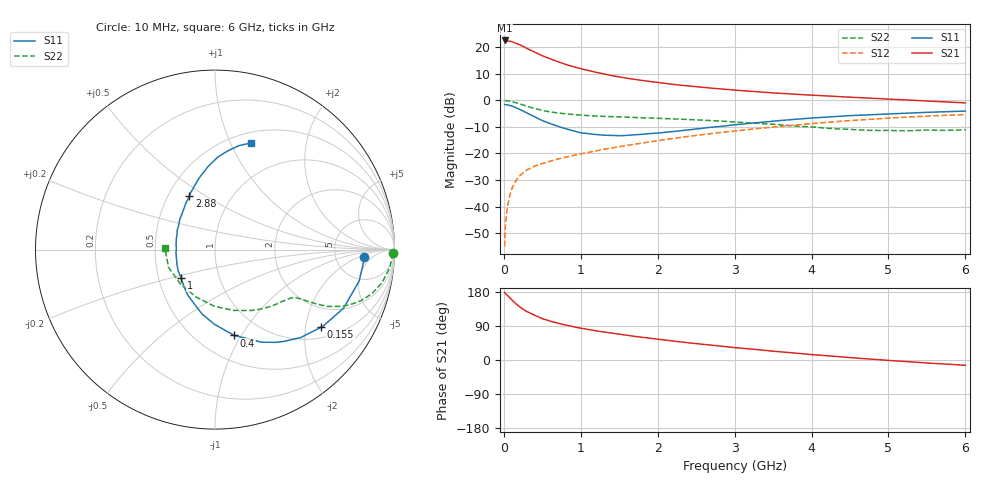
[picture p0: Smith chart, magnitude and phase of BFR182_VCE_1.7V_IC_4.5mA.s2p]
! Infineon Technologies  Discrete & RF Semiconductors
! BFR182
! VCE =  1.7 V,  IC =  4.5 mA
! Common Emitter S-Parameters:  Nov 2015
# GHz  S  MA  R  50
!  f  S11  S21  S12  S22
! GHz  MAG  ANG  MAG  ANG  MAG  ANG  MAG  ANG
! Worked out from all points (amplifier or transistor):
!   210 points, 10 MHz to 6 GHz, reference 50 ohm
!   highest |S21| = 22.5 dB at 10 MHz (marker M1)
!   |S21| within 3 dB of that: start of sweep to 300.1 MHz
!   unconditionally stable (mu >= 1): 1.09 GHz to 2.898 GHz
!   at 185 MHz: K = 0.31, MSG = 25.1 dB, |S12| = -29.1 dB
!   at 1.52 GHz: K = 1.06, MAG = 11.5 dB, |S12| = -17.3 dB
!   at 6 GHz: K = 0.89, MSG = 2.2 dB, |S12| = -5.4 dB
!   S11 on the Smith chart (normalised r, x): 10 MHz: 10, -3; 155 MHz: 1.31, -2.43; 400 MHz: 0.74, -0.93; 1 GHz: 0.65, -0.22; 2.88 GHz: 0.64, +0.43; 6 GHz: 0.61, +1.20
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0.01  0.8329 -2.7  13.39 178.0  0.0018 94.9  0.9904 -1.2
0.02  0.8303 -5.0  13.16 175.5  0.0043 84.0  0.9871 -2.3
0.035  0.8248 -8.6  13.13 172.5  0.0073 83.9  0.9831 -4.0
0.05  0.8225 -12.2  13.14 169.5  0.0103 83.8  0.98 -5.7
0.1  0.7874 -24.4  12.81 159.4  0.021 78.0  0.9495 -11.1
0.155  0.7317 -36.3  11.85 148.6  0.0304 72.0  0.9035 -16.0
0.2  0.6844 -45.7  11.25 141.2  0.0373 68.1  0.8615 -19.3
0.26  0.6189 -56.6  10.2 132.5  0.0443 64.3  0.8045 -22.6
0.3  0.5782 -63.2  9.485 127.6  0.0487 62.7  0.7713 -24.2
0.4  0.4898 -77.4  8.087 117.8  0.0576 59.6  0.7018 -26.8
0.5  0.4163 -90.4  6.908 109.1  0.0647 58.1  0.6457 -28.1
0.6  0.3665 -101.3  6.045 102.7  0.0716 57.9  0.6052 -28.8
0.8  0.2942 -121.3  4.754 92.3  0.0851 57.9  0.5577 -29.8
1  0.2457 -140.1  3.943 83.9  0.0983 59.2  0.527 -30.7
1.02  0.2433 -142.1  3.881 83.2  0.0996 59.3  0.5247 -30.8
1.4  0.2189 -174.7  2.925 70.9  0.1266 60.4  0.4929 -33.9
2.02  0.2435 146.3  2.143 54.4  0.1762 59.9  0.4586 -41.3
2.88  0.3307 115.6  1.614 35.3  0.2541 55.2  0.4028 -56.7
3.1  0.3578 110.5  1.52 31.0  0.2749 53.3  0.385 -61.8
4.1  0.474 93.4  1.229 12.8  0.3747 43.4  0.3066 -94.3
5.1  0.5628 81.3  1.039 -2.4  0.4718 30.9  0.269 -139.7
6  0.6274 71.2  0.895 -14.0  0.5398 18.0  0.2796 178.1
